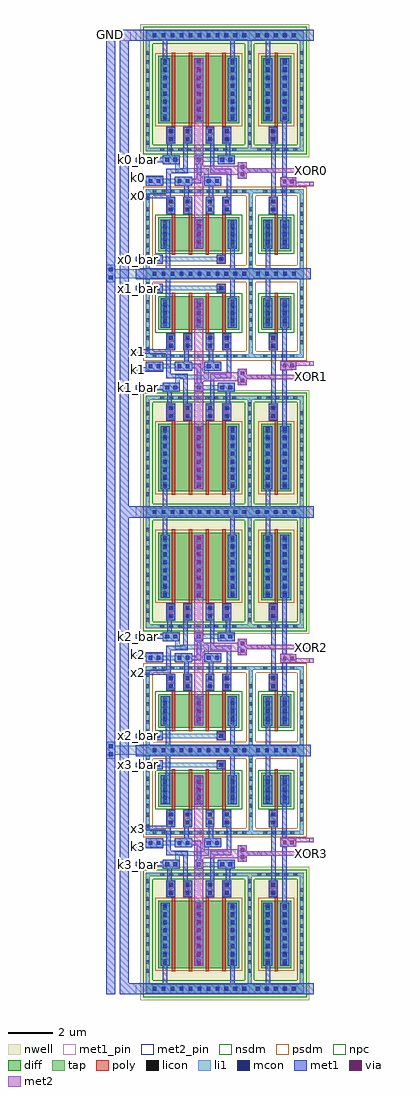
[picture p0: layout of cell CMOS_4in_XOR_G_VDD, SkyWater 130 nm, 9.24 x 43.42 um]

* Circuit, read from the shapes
.subckt CMOS_4in_XOR_G_VDD GND VDD XOR0 XOR0_bar XOR1 XOR1_bar XOR2 XOR2_bar XOR3 XOR3_bar k0 k0_bar k1 k1_bar k2 k2_bar k3 k3_bar x0 x0_bar x1 x1_bar x2 x2_bar x3 x3_bar
XM1 n1 x3 GND GND sky130_fd_pr__nfet_01v8 w=1.5 l=0.15
XM2 n2 x2 GND GND sky130_fd_pr__nfet_01v8 w=1.5 l=0.15
XM3 n3 x1 GND GND sky130_fd_pr__nfet_01v8 w=1.5 l=0.15
XM4 n4 x0 GND GND sky130_fd_pr__nfet_01v8 w=1.5 l=0.15
XM5 XOR3 k3 n1 GND sky130_fd_pr__nfet_01v8 w=1.5 l=0.15
XM6 XOR2 k2 n2 GND sky130_fd_pr__nfet_01v8 w=1.5 l=0.15
XM7 XOR1 k1 n3 GND sky130_fd_pr__nfet_01v8 w=1.5 l=0.15
XM8 XOR0 k0 n4 GND sky130_fd_pr__nfet_01v8 w=1.5 l=0.15
XM9 n5 k3_bar XOR3 GND sky130_fd_pr__nfet_01v8 w=1.5 l=0.15
XM10 n6 k2_bar XOR2 GND sky130_fd_pr__nfet_01v8 w=1.5 l=0.15
XM11 n7 k1_bar XOR1 GND sky130_fd_pr__nfet_01v8 w=1.5 l=0.15
XM12 n8 k0_bar XOR0 GND sky130_fd_pr__nfet_01v8 w=1.5 l=0.15
XM13 GND x3_bar n5 GND sky130_fd_pr__nfet_01v8 w=1.5 l=0.15
XM14 GND x2_bar n6 GND sky130_fd_pr__nfet_01v8 w=1.5 l=0.15
XM15 GND x1_bar n7 GND sky130_fd_pr__nfet_01v8 w=1.5 l=0.15
XM16 GND x0_bar n8 GND sky130_fd_pr__nfet_01v8 w=1.5 l=0.15
XM17 XOR3_bar XOR3 GND GND sky130_fd_pr__nfet_01v8 w=1.5 l=0.15
XM18 XOR2_bar XOR2 GND GND sky130_fd_pr__nfet_01v8 w=1.5 l=0.15
XM19 XOR1_bar XOR1 GND GND sky130_fd_pr__nfet_01v8 w=1.5 l=0.15
XM20 XOR0_bar XOR0 GND GND sky130_fd_pr__nfet_01v8 w=1.5 l=0.15
XM21 n9 k3_bar VDD VDD sky130_fd_pr__pfet_01v8 w=3 l=0.15
XM22 n10 k2_bar VDD VDD sky130_fd_pr__pfet_01v8 w=3 l=0.15
XM23 n11 k1_bar VDD VDD sky130_fd_pr__pfet_01v8 w=3 l=0.15
XM24 n12 k0_bar VDD VDD sky130_fd_pr__pfet_01v8 w=3 l=0.15
XM25 XOR3 x3 n9 VDD sky130_fd_pr__pfet_01v8 w=3 l=0.15
XM26 XOR2 x2 n10 VDD sky130_fd_pr__pfet_01v8 w=3 l=0.15
XM27 XOR1 x1 n11 VDD sky130_fd_pr__pfet_01v8 w=3 l=0.15
XM28 XOR0 x0 n12 VDD sky130_fd_pr__pfet_01v8 w=3 l=0.15
XM29 n13 x3_bar XOR3 VDD sky130_fd_pr__pfet_01v8 w=3 l=0.15
XM30 n14 x2_bar XOR2 VDD sky130_fd_pr__pfet_01v8 w=3 l=0.15
XM31 n15 x1_bar XOR1 VDD sky130_fd_pr__pfet_01v8 w=3 l=0.15
XM32 n16 x0_bar XOR0 VDD sky130_fd_pr__pfet_01v8 w=3 l=0.15
XM33 VDD k3 n13 VDD sky130_fd_pr__pfet_01v8 w=3 l=0.15
XM34 VDD k2 n14 VDD sky130_fd_pr__pfet_01v8 w=3 l=0.15
XM35 VDD k1 n15 VDD sky130_fd_pr__pfet_01v8 w=3 l=0.15
XM36 VDD k0 n16 VDD sky130_fd_pr__pfet_01v8 w=3 l=0.15
XM37 XOR3_bar XOR3 VDD VDD sky130_fd_pr__pfet_01v8 w=3 l=0.15
XM38 XOR2_bar XOR2 VDD VDD sky130_fd_pr__pfet_01v8 w=3 l=0.15
XM39 XOR1_bar XOR1 VDD VDD sky130_fd_pr__pfet_01v8 w=3 l=0.15
XM40 XOR0_bar XOR0 VDD VDD sky130_fd_pr__pfet_01v8 w=3 l=0.15
.ends

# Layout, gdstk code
import gdstk
lib = gdstk.Library(unit=1e-6, precision=1e-09)
def R(c, l, rs):  # rectangles x0, y0, x1, y1
    for r in rs: c.add(gdstk.rectangle(r[:2], r[2:], *l))
def A(c, l, x, y, w, h, nx, ny, dx, dy):  # array of equal rectangles
    R(c, l, [(x+i*dx, y+j*dy, x+i*dx+w, y+j*dy+h) for i in range(nx) for j in range(ny)])
nwell = (64, 20)
diff = (65, 20)
tap = (65, 44)
poly = (66, 20)
licon = (66, 44)
li1 = (67, 20)
mcon = (67, 44)
met1_pin = (68, 16)
met1 = (68, 20)
via = (68, 44)
met2_pin = (69, 16)
met2 = (69, 20)
nsdm = (93, 44)
psdm = (94, 20)
npc = (95, 20)

cmos_xor_g_vdd = lib.new_cell('CMOS_XOR_G_VDD')
R(cmos_xor_g_vdd, nwell, [(0.2,5.56,5.4,11.48)])
R(cmos_xor_g_vdd, diff, [(1,1.375,4.6,2.875), (1,7.06,4.6,10.06)])
R(cmos_xor_g_vdd, tap, [(0.45,0.125,5.205,0.625), (0.45,0.625,0.62,3.955), (5.035,0.625,5.205,3.955), (0.45,3.955,5.205,4.125), (0.45,5.81,5.15,5.98), (0.45,5.98,0.62,10.73), (4.98,5.98,5.15,10.73), (0.45,10.73,5.15,11.23)])
A(cmos_xor_g_vdd, poly, 1.6, 1.225, 0.15, 1.8, 4, 1, 0.75, 0)
A(cmos_xor_g_vdd, poly, 1.6, 6.91, 0.15, 3.3, 4, 1, 0.75, 0)
R(cmos_xor_g_vdd, poly, [(3.6,0.825,4,1.225), (1.35,3.025,1.75,3.785), (2.1,3.025,2.5,3.785), (3.1,3.025,3.5,3.785), (3.85,3.025,4.25,3.785), (1.35,6.15,1.75,6.91), (2.1,6.15,2.5,6.91), (3.1,6.15,3.5,6.91), (3.85,6.15,4.25,6.91)])
A(cmos_xor_g_vdd, licon, 0.745, 0.29, 0.17, 0.17, 11, 2, 0.4, 3.665)
A(cmos_xor_g_vdd, licon, 0.45, 0.75, 0.17, 0.17, 1, 7, 0, 0.4)
A(cmos_xor_g_vdd, licon, 5.035, 0.75, 0.17, 0.17, 1, 7, 0, 0.4)
A(cmos_xor_g_vdd, licon, 1.215, 1.53, 0.17, 0.17, 3, 4, 1.5, 0.34)
A(cmos_xor_g_vdd, licon, 1.09, 5.81, 0.17, 0.17, 9, 1, 0.4, 0)
A(cmos_xor_g_vdd, licon, 0.45, 6.105, 0.17, 0.17, 1, 11, 0, 0.4)
A(cmos_xor_g_vdd, licon, 4.98, 6.105, 0.17, 0.17, 1, 11, 0, 0.4)
A(cmos_xor_g_vdd, licon, 1.215, 7.285, 0.17, 0.17, 3, 8, 1.5, 0.34)
A(cmos_xor_g_vdd, licon, 0.745, 10.895, 0.17, 0.17, 11, 1, 0.4, 0)
R(cmos_xor_g_vdd, licon, [(3.715,0.94,3.885,1.11), (1.465,3.14,1.635,3.31), (2.215,3.14,2.385,3.31), (3.215,3.14,3.385,3.31), (3.965,3.14,4.135,3.31), (1.465,3.5,1.635,3.67), (2.215,3.5,2.385,3.67), (3.215,3.5,3.385,3.67), (3.965,3.5,4.135,3.67), (0.45,3.66,0.62,3.83), (1.465,6.265,1.635,6.435), (2.215,6.265,2.385,6.435), (3.215,6.265,3.385,6.435), (3.965,6.265,4.135,6.435), (1.465,6.625,1.635,6.795), (2.215,6.625,2.385,6.795), (3.215,6.625,3.385,6.795), (3.965,6.625,4.135,6.795)])
A(cmos_xor_g_vdd, li1, 1.1, 1.475, 0.4, 1.3, 3, 1, 1.5, 0)
A(cmos_xor_g_vdd, li1, 1.1, 7.16, 0.4, 2.8, 3, 1, 1.5, 0)
R(cmos_xor_g_vdd, li1, [(0.45,0.175,5.205,0.575), (0.45,0.575,0.62,3.955), (5.035,0.575,5.205,3.955), (0.79,0.825,1.19,0.925), (3.6,0.825,4,0.925), (0.79,0.925,4,1.125), (0.79,1.125,1.19,1.225), (3.6,1.125,4,1.225), (1.35,3.025,1.75,3.785), (2.1,3.025,2.5,3.785), (3.1,3.025,3.5,3.785), (3.85,3.025,4.25,3.785), (0.45,3.955,5.205,4.125), (0.45,4.295,1.21,4.395), (1.74,4.295,2.5,4.395), (3.05,4.295,3.81,4.695), (0.45,4.395,2.5,4.595), (0.45,4.595,1.21,4.695), (1.74,4.595,2.5,4.695), (3.05,4.695,3.25,4.865), (1.76,4.865,3.25,5.065), (1.76,5.065,1.96,5.24), (1.2,5.24,1.96,5.64), (2.6,5.24,3,5.345), (3.64,5.24,4.4,5.345), (2.6,5.345,4.4,5.545), (2.6,5.545,3,5.64), (3.64,5.545,4.4,5.64), (0.45,5.81,5.15,5.98), (0.45,5.98,0.62,10.78), (4.98,5.98,5.15,10.78), (1.35,6.15,1.75,6.91), (2.1,6.15,2.5,6.91), (3.1,6.15,3.5,6.91), (3.85,6.15,4.25,6.91), (0.45,10.78,5.15,11.18)])
A(cmos_xor_g_vdd, mcon, 0.745, 0.29, 0.17, 0.17, 11, 2, 0.4, 10.605)
A(cmos_xor_g_vdd, mcon, 1.215, 1.68, 0.17, 0.17, 3, 3, 1.5, 0.36)
A(cmos_xor_g_vdd, mcon, 1.675, 5.355, 0.17, 0.17, 3, 1, 1.04, 0)
A(cmos_xor_g_vdd, mcon, 1.215, 7.215, 0.17, 0.17, 3, 8, 1.5, 0.36)
R(cmos_xor_g_vdd, mcon, [(0.905,0.94,1.075,1.11), (3.715,0.94,3.885,1.11), (1.465,3.14,1.635,3.31), (2.215,3.14,2.385,3.31), (3.215,3.14,3.385,3.31), (3.965,3.14,4.135,3.31), (1.465,3.5,1.635,3.67), (2.215,3.5,2.385,3.67), (3.215,3.5,3.385,3.67), (3.965,3.5,4.135,3.67), (0.565,4.41,0.735,4.58), (0.925,4.41,1.095,4.58), (1.855,4.41,2.025,4.58), (2.215,4.41,2.385,4.58), (3.165,4.41,3.335,4.58), (3.525,4.41,3.695,4.58), (1.315,5.355,1.485,5.525), (4.115,5.355,4.285,5.525), (1.465,6.265,1.635,6.435), (2.215,6.265,2.385,6.435), (3.215,6.265,3.385,6.435), (3.965,6.265,4.135,6.435), (1.465,6.625,1.635,6.795), (2.215,6.625,2.385,6.795), (3.215,6.625,3.385,6.795), (3.965,6.625,4.135,6.795)])
R(cmos_xor_g_vdd, met1_pin, [(0,0.125,0.5,0.625), (0,0.925,0.2,1.125), (0,3.73,0.2,3.93), (0,4.53,0.2,4.73), (5.4,4.865,5.6,5.065), (0,5.34,0.2,5.54), (0,10.73,0.5,11.23)])
A(cmos_xor_g_vdd, met1, 1.1, 7.16, 0.4, 2.8, 3, 1, 1.5, 0)
R(cmos_xor_g_vdd, met1, [(0,0.125,5.655,0.625), (1.33,0.625,1.53,1.475), (4.2,0.625,4.4,1.475), (0.79,0.825,1.19,0.925), (3.6,0.825,4,1.225), (0,0.925,1.19,1.125), (0.79,1.125,1.19,1.225), (1.1,1.475,1.53,2.775), (2.6,1.475,3,2.775), (4.1,1.475,4.5,2.775), (1.35,3.025,1.75,3.73), (2.1,3.025,2.5,3.785), (3.1,3.025,3.5,3.785), (3.85,3.025,4.25,3.785), (0,3.73,1.75,3.785), (0,3.785,1.55,3.93), (2.15,3.785,2.35,4.295), (3.25,3.785,3.45,4.295), (4.05,3.785,4.25,4.835), (1.35,3.93,1.55,4.835), (0.45,4.295,1.21,4.53), (1.74,4.295,2.5,4.395), (3.05,4.295,3.81,4.695), (1.74,4.395,2.9,4.595), (0,4.53,1.21,4.73), (1.74,4.595,2.5,4.695), (2.7,4.595,2.9,5.24), (4.54,4.605,4.94,4.865), (1.35,4.835,2.3,5.035), (3.3,4.835,4.25,5.035), (4.54,4.865,5.6,5.065), (2.1,5.035,2.3,6.15), (3.3,5.035,3.5,6.15), (4.54,5.065,4.94,5.335), (1.2,5.24,1.96,5.34), (2.6,5.24,3,5.64), (3.64,5.24,4.4,5.64), (0,5.34,1.96,5.54), (1.2,5.54,1.96,5.64), (1.4,5.64,1.6,6.15), (4,5.64,4.2,6.15), (1.35,6.15,1.75,6.91), (2.1,6.15,2.5,6.91), (3.1,6.15,3.5,6.91), (3.85,6.15,4.25,6.91), (1.2,9.96,1.4,10.73), (4.2,9.96,4.4,10.73), (0,10.73,5.6,11.23)])
A(cmos_xor_g_vdd, via, 2.725, 1.69, 0.15, 0.15, 1, 3, 0, 0.36)
A(cmos_xor_g_vdd, via, 2.725, 7.225, 0.15, 0.15, 1, 8, 0, 0.36)
R(cmos_xor_g_vdd, via, [(4.665,4.73,4.815,4.88), (4.665,5.05,4.815,5.2)])
R(cmos_xor_g_vdd, met2, [(2.6,1.475,3,4.765), (4.54,4.605,4.94,4.765), (2.6,4.765,4.94,5.165), (2.6,5.165,3,9.96), (4.54,5.165,4.94,5.335)])
R(cmos_xor_g_vdd, nsdm, [(0.875,1.25,4.725,3), (0.325,5.685,5.275,6.105), (0.325,6.105,0.745,10.605), (4.855,6.105,5.275,10.605), (0.325,10.605,5.275,11.355)])
R(cmos_xor_g_vdd, psdm, [(0.325,0,5.33,0.75), (0.325,0.75,0.745,3.83), (4.91,0.75,5.33,3.83), (0.325,3.83,5.33,4.25), (0.875,6.935,4.725,10.185)])
R(cmos_xor_g_vdd, npc, [(3.615,0.84,3.985,1.21), (1.365,3.04,1.735,3.77), (2.115,3.04,2.485,3.77), (3.115,3.04,3.485,3.77), (3.865,3.04,4.235,3.77), (1.365,6.165,1.735,6.895), (2.115,6.165,2.485,6.895), (3.115,6.165,3.485,6.895), (3.865,6.165,4.235,6.895)])
cmos_xor_g_vdd.add(gdstk.Label('XOR', (5.5,4.965), layer=68, texttype=5))
cmos_xor_g_vdd.add(gdstk.Label('B_bar', (0.1,5.44), layer=68, texttype=5))
cmos_xor_g_vdd.add(gdstk.Label('B', (0.1,4.63), layer=68, texttype=5))
cmos_xor_g_vdd.add(gdstk.Label('A', (0.1,3.83), layer=68, texttype=5))
cmos_xor_g_vdd.add(gdstk.Label('A_bar', (0.1,1.025), layer=68, texttype=5))
cmos_xor_g_vdd.add(gdstk.Label('VDD', (0.25,10.98), layer=68, texttype=5))
cmos_xor_g_vdd.add(gdstk.Label('GND', (0.25,0.375), layer=68, texttype=5))

cmos_inv_g_vdd = lib.new_cell('CMOS_INV_G_VDD')
R(cmos_inv_g_vdd, nwell, [(0.2,5.56,3.15,11.48)])
R(cmos_inv_g_vdd, diff, [(1,1.375,2.35,2.875), (1,7.06,2.35,10.06)])
R(cmos_inv_g_vdd, tap, [(0.465,0.125,2.9,0.625), (2.73,0.625,2.9,3.955), (0.465,3.955,2.9,4.125), (0.45,5.81,2.9,5.98), (2.73,5.98,2.9,10.73), (0.45,10.73,2.9,11.23)])
R(cmos_inv_g_vdd, poly, [(1.6,1.225,1.75,3.025), (1.35,3.025,1.75,3.785), (1.35,6.15,1.75,6.91), (1.6,6.91,1.75,10.21)])
A(cmos_inv_g_vdd, licon, 0.78, 0.29, 0.17, 0.17, 5, 1, 0.4, 0)
A(cmos_inv_g_vdd, licon, 2.73, 0.95, 0.17, 0.17, 1, 7, 0, 0.4)
A(cmos_inv_g_vdd, licon, 1.215, 1.53, 0.17, 0.17, 1, 4, 0, 0.34)
A(cmos_inv_g_vdd, licon, 1.965, 1.53, 0.17, 0.17, 1, 4, 0, 0.34)
A(cmos_inv_g_vdd, licon, 1.105, 3.955, 0.17, 0.17, 4, 1, 0.4, 0)
A(cmos_inv_g_vdd, licon, 0.835, 5.81, 0.17, 0.17, 5, 1, 0.4, 0)
A(cmos_inv_g_vdd, licon, 2.73, 6.505, 0.17, 0.17, 1, 10, 0, 0.4)
A(cmos_inv_g_vdd, licon, 1.215, 7.285, 0.17, 0.17, 1, 8, 0, 0.34)
A(cmos_inv_g_vdd, licon, 1.965, 7.285, 0.17, 0.17, 1, 8, 0, 0.34)
A(cmos_inv_g_vdd, licon, 0.765, 10.895, 0.17, 0.17, 5, 1, 0.4, 0)
R(cmos_inv_g_vdd, licon, [(1.465,3.14,1.635,3.31), (1.465,3.5,1.635,3.67), (1.465,6.265,1.635,6.435), (1.465,6.625,1.635,6.795)])
R(cmos_inv_g_vdd, li1, [(0.465,0.175,2.9,0.575), (2.73,0.575,2.9,3.955), (1.1,1.475,1.5,2.775), (1.85,1.475,2.25,2.775), (1.35,3.025,1.75,3.785), (0.465,3.955,2.9,4.125), (0.45,5.81,2.9,5.98), (2.73,5.98,2.9,10.78), (1.35,6.15,1.75,6.91), (1.1,7.16,1.5,9.96), (1.85,7.16,2.25,9.96), (0.45,10.78,2.9,11.18)])
A(cmos_inv_g_vdd, mcon, 0.78, 0.29, 0.17, 0.17, 5, 1, 0.4, 0)
A(cmos_inv_g_vdd, mcon, 1.215, 1.68, 0.17, 0.17, 1, 3, 0, 0.36)
A(cmos_inv_g_vdd, mcon, 1.965, 1.68, 0.17, 0.17, 1, 3, 0, 0.36)
A(cmos_inv_g_vdd, mcon, 1.215, 7.215, 0.17, 0.17, 1, 8, 0, 0.36)
A(cmos_inv_g_vdd, mcon, 1.965, 7.215, 0.17, 0.17, 1, 8, 0, 0.36)
A(cmos_inv_g_vdd, mcon, 0.765, 10.895, 0.17, 0.17, 5, 1, 0.4, 0)
R(cmos_inv_g_vdd, mcon, [(1.465,3.14,1.635,3.31), (1.465,3.5,1.635,3.67), (1.465,6.265,1.635,6.435), (1.465,6.625,1.635,6.795)])
R(cmos_inv_g_vdd, met1_pin, [(0,0.125,0.5,0.625), (1.95,4.695,2.15,4.895), (0,10.73,0.5,11.23)])
R(cmos_inv_g_vdd, met1, [(0,0.125,3.21,0.625), (1.2,0.625,1.4,1.475), (1.1,1.475,1.5,2.775), (1.85,1.475,2.25,2.775), (1.95,2.775,2.15,7.16), (1.35,3.025,1.75,3.785), (1.45,3.785,1.65,6.15), (1.35,6.15,1.75,6.91), (1.1,7.16,1.5,9.96), (1.85,7.16,2.25,9.96), (1.2,9.96,1.4,10.73), (0,10.73,3.35,11.23)])
R(cmos_inv_g_vdd, nsdm, [(0.875,1.25,2.475,3), (0.325,5.685,3.025,6.105), (2.605,6.105,3.025,10.605), (0.325,10.605,3.025,11.355)])
R(cmos_inv_g_vdd, psdm, [(0.34,0,3.025,0.75), (2.605,0.75,3.025,3.83), (0.34,3.83,3.025,4.25), (0.875,6.935,2.475,10.185)])
R(cmos_inv_g_vdd, npc, [(1.365,3.04,1.735,3.77), (1.365,6.165,1.735,6.895)])
cmos_inv_g_vdd.add(gdstk.Label('A', (1.565,6.705), layer=68, texttype=5))
cmos_inv_g_vdd.add(gdstk.Label('VDD', (0.25,10.98), layer=68, texttype=5))
cmos_inv_g_vdd.add(gdstk.Label('OUT', (2.05,4.795), layer=68, texttype=5))
cmos_inv_g_vdd.add(gdstk.Label('GND', (0.25,0.375), layer=68, texttype=5))

cmos_4in_xor_g_vdd = lib.new_cell('CMOS_4in_XOR_G_VDD')
R(cmos_4in_xor_g_vdd, li1, [(0,10.73,0.4,10.905), (0,10.905,1.77,11.305), (0,11.305,0.4,11.49), (0,31.94,0.4,32.115), (0,32.115,1.77,32.515), (0,32.515,0.4,32.7)])
R(cmos_4in_xor_g_vdd, mcon, [(0.115,10.845,0.285,11.015), (0.115,11.205,0.285,11.375), (0.115,32.055,0.285,32.225), (0.115,32.415,0.285,32.585)])
R(cmos_4in_xor_g_vdd, met1_pin, [(1.32,5.94,1.52,6.14), (1.32,6.75,1.52,6.95), (1.32,7.55,1.52,7.75), (1.32,10.355,1.52,10.555), (1.32,11.655,1.52,11.855), (1.32,14.46,1.52,14.66), (1.32,15.26,1.52,15.46), (1.32,16.07,1.52,16.27), (1.32,27.15,1.52,27.35), (1.32,27.96,1.52,28.16), (1.32,28.76,1.52,28.96), (1.32,31.565,1.52,31.765), (1.32,32.865,1.52,33.065), (1.32,35.67,1.52,35.87), (1.32,36.47,1.52,36.67), (1.32,37.28,1.52,37.48), (0.6,42.67,1.1,43.17), (0,42.77,0.4,43.17)])
A(cmos_4in_xor_g_vdd, met1, 0.6, 0.25, 0.72, 0.5, 1, 3, 0, 21.21)
R(cmos_4in_xor_g_vdd, met1, [(0,0.25,0.4,43.17), (0.6,0.75,1,21.46), (1.32,5.94,1.52,6.14), (6.92,6.415,7.54,6.615), (1.32,6.75,1.52,6.95), (7.735,6.815,8.465,7.215), (1.32,7.55,1.52,7.75), (1.32,10.355,1.52,10.555), (1.32,11.655,1.52,11.855), (1.32,14.46,1.52,14.66), (7.735,14.995,8.465,15.395), (1.32,15.26,1.52,15.46), (6.92,15.595,7.54,15.795), (1.32,16.07,1.52,16.27), (0.6,21.96,1,42.67), (1.32,27.15,1.52,27.35), (6.92,27.625,7.54,27.825), (1.32,27.96,1.52,28.16), (7.735,28.025,8.465,28.425), (1.32,28.76,1.52,28.96), (1.32,31.565,1.52,31.765), (1.32,32.865,1.52,33.065), (1.32,35.67,1.52,35.87), (7.735,36.205,8.465,36.605), (1.32,36.47,1.52,36.67), (6.92,36.805,7.54,37.005), (1.32,37.28,1.52,37.48)])
R(cmos_4in_xor_g_vdd, via, [(7.87,6.94,8.02,7.09), (8.19,6.94,8.34,7.09), (7.87,15.12,8.02,15.27), (8.19,15.12,8.34,15.27), (7.87,28.15,8.02,28.3), (8.19,28.15,8.34,28.3), (7.87,36.33,8.02,36.48), (8.19,36.33,8.34,36.48)])
R(cmos_4in_xor_g_vdd, met2_pin, [(9.04,6.415,9.24,6.615), (9.04,7.015,9.24,7.215), (9.04,14.995,9.24,15.195), (9.04,15.595,9.24,15.795), (9.04,27.625,9.24,27.825), (9.04,28.225,9.24,28.425), (9.04,36.205,9.24,36.405), (9.04,36.805,9.24,37.005)])
R(cmos_4in_xor_g_vdd, met2, [(6.25,6.415,9.24,6.615), (7.735,6.815,8.465,7.015), (7.735,7.015,9.24,7.215), (7.735,14.995,9.24,15.195), (7.735,15.195,8.465,15.395), (6.25,15.595,9.24,15.795), (6.25,27.625,9.24,27.825), (7.735,28.025,8.465,28.225), (7.735,28.225,9.24,28.425), (7.735,36.205,9.24,36.405), (7.735,36.405,8.465,36.605), (6.25,36.805,9.24,37.005)])
cmos_4in_xor_g_vdd.add(gdstk.Reference(cmos_xor_g_vdd, (1.32,31.94)))
cmos_4in_xor_g_vdd.add(gdstk.Reference(cmos_xor_g_vdd, (1.32,32.69), x_reflection=True))
cmos_4in_xor_g_vdd.add(gdstk.Reference(cmos_xor_g_vdd, (1.32,10.73)))
cmos_4in_xor_g_vdd.add(gdstk.Reference(cmos_xor_g_vdd, (1.32,11.48), x_reflection=True))
cmos_4in_xor_g_vdd.add(gdstk.Reference(cmos_inv_g_vdd, (5.89,11.48), x_reflection=True))
cmos_4in_xor_g_vdd.add(gdstk.Reference(cmos_inv_g_vdd, (5.89,10.73)))
cmos_4in_xor_g_vdd.add(gdstk.Reference(cmos_inv_g_vdd, (5.89,32.69), x_reflection=True))
cmos_4in_xor_g_vdd.add(gdstk.Reference(cmos_inv_g_vdd, (5.89,31.94)))
cmos_4in_xor_g_vdd.add(gdstk.Label('GND', (0.2,42.97), layer=68, texttype=5))
cmos_4in_xor_g_vdd.add(gdstk.Label('VDD', (0.85,42.92), layer=68, texttype=5))
cmos_4in_xor_g_vdd.add(gdstk.Label('k0_bar', (1.42,37.38), layer=68, texttype=5))
cmos_4in_xor_g_vdd.add(gdstk.Label('k0', (1.42,36.57), layer=68, texttype=5))
cmos_4in_xor_g_vdd.add(gdstk.Label('x0', (1.42,35.77), layer=68, texttype=5))
cmos_4in_xor_g_vdd.add(gdstk.Label('x0_bar', (1.42,32.965), layer=68, texttype=5))
cmos_4in_xor_g_vdd.add(gdstk.Label('k1_bar', (1.42,27.25), layer=68, texttype=5))
cmos_4in_xor_g_vdd.add(gdstk.Label('k1', (1.42,28.06), layer=68, texttype=5))
cmos_4in_xor_g_vdd.add(gdstk.Label('x1', (1.42,28.86), layer=68, texttype=5))
cmos_4in_xor_g_vdd.add(gdstk.Label('x1_bar', (1.42,31.665), layer=68, texttype=5))
cmos_4in_xor_g_vdd.add(gdstk.Label('k2_bar', (1.42,16.17), layer=68, texttype=5))
cmos_4in_xor_g_vdd.add(gdstk.Label('k2', (1.42,15.36), layer=68, texttype=5))
cmos_4in_xor_g_vdd.add(gdstk.Label('x2', (1.42,14.56), layer=68, texttype=5))
cmos_4in_xor_g_vdd.add(gdstk.Label('x2_bar', (1.42,11.755), layer=68, texttype=5))
cmos_4in_xor_g_vdd.add(gdstk.Label('k3_bar', (1.42,6.04), layer=68, texttype=5))
cmos_4in_xor_g_vdd.add(gdstk.Label('k3', (1.42,6.85), layer=68, texttype=5))
cmos_4in_xor_g_vdd.add(gdstk.Label('x3', (1.42,7.65), layer=68, texttype=5))
cmos_4in_xor_g_vdd.add(gdstk.Label('x3_bar', (1.42,10.455), layer=68, texttype=5))
cmos_4in_xor_g_vdd.add(gdstk.Label('XOR0', (9.14,36.905), layer=69, texttype=5))
cmos_4in_xor_g_vdd.add(gdstk.Label('XOR0_bar', (9.14,36.305), layer=69, texttype=5))
cmos_4in_xor_g_vdd.add(gdstk.Label('XOR1', (9.14,27.725), layer=69, texttype=5))
cmos_4in_xor_g_vdd.add(gdstk.Label('XOR1_bar', (9.14,28.325), layer=69, texttype=5))
cmos_4in_xor_g_vdd.add(gdstk.Label('XOR2', (9.14,15.695), layer=69, texttype=5))
cmos_4in_xor_g_vdd.add(gdstk.Label('XOR2_bar', (9.14,15.095), layer=69, texttype=5))
cmos_4in_xor_g_vdd.add(gdstk.Label('XOR3', (9.14,6.515), layer=69, texttype=5))
cmos_4in_xor_g_vdd.add(gdstk.Label('XOR3_bar', (9.14,7.115), layer=69, texttype=5))

lib.write_gds('CMOS_4in_XOR_G_VDD.gds')
